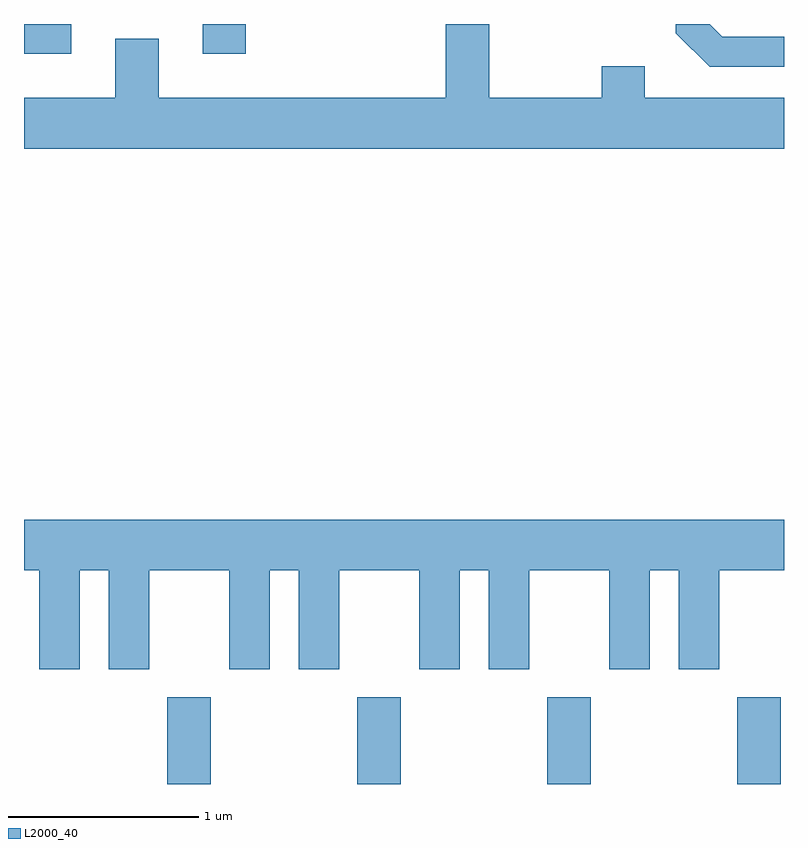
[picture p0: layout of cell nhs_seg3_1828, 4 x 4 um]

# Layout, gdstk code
import gdstk
lib = gdstk.Library(unit=1e-6, precision=1e-09)
def R(c, l, rs):  # rectangles x0, y0, x1, y1
    for r in rs: c.add(gdstk.rectangle(r[:2], r[2:], *l))
def A(c, l, x, y, w, h, nx, ny, dx, dy):  # array of equal rectangles
    R(c, l, [(x+i*dx, y+j*dy, x+i*dx+w, y+j*dy+h) for i in range(nx) for j in range(ny)])
def P(c, l, *ps):  # polygons
    for p in ps: c.add(gdstk.Polygon(p, *l))
L2000_40 = (2000, 40)

nhs_seg3_1828 = lib.new_cell('nhs_seg3_1828')
A(nhs_seg3_1828, L2000_40, 238.366, 1235.892, 0.228, 0.457, 4, 1, 1, 0)
R(nhs_seg3_1828, L2000_40, [(237.611,1239.736,237.859,1239.892), (238.551,1239.736,238.779,1239.892)])
P(nhs_seg3_1828, L2000_40, [(241.611,1239.504),(240.879,1239.504),(240.879,1239.669),(240.651,1239.669),(240.651,1239.504),(240.059,1239.504),(240.059,1239.892),(239.831,1239.892),(239.831,1239.504),(238.319,1239.504),(238.319,1239.814),(238.091,1239.814),(238.091,1239.504),(237.611,1239.504),(237.611,1239.236),(241.611,1239.236)],
  [(241.611,1239.824),(241.287,1239.824),(241.219,1239.892),(241.041,1239.892),(241.041,1239.844),(241.219,1239.666),(241.611,1239.666)],
  [(237.904,1237.016),(238.056,1237.016),(238.056,1236.496),(238.269,1236.496),(238.269,1237.016),(238.691,1237.016),(238.691,1236.496),(238.904,1236.496),(238.904,1237.016),(239.056,1237.016),(239.056,1236.496),(239.269,1236.496),(239.269,1237.016),(239.691,1237.016),(239.691,1236.496),(239.904,1236.496),(239.904,1237.016),(240.056,1237.016),(240.056,1236.496),(240.269,1236.496),(240.269,1237.016),(240.691,1237.016),(240.691,1236.496),(240.904,1236.496),(240.904,1237.016),(241.056,1237.016),(241.056,1236.496),(241.269,1236.496),(241.269,1237.016),(241.611,1237.016),(241.611,1237.284),(237.611,1237.284),(237.611,1237.016),(237.691,1237.016),(237.691,1236.496),(237.904,1236.496)])

lib.write_gds('nhs_seg3_1828.gds')
